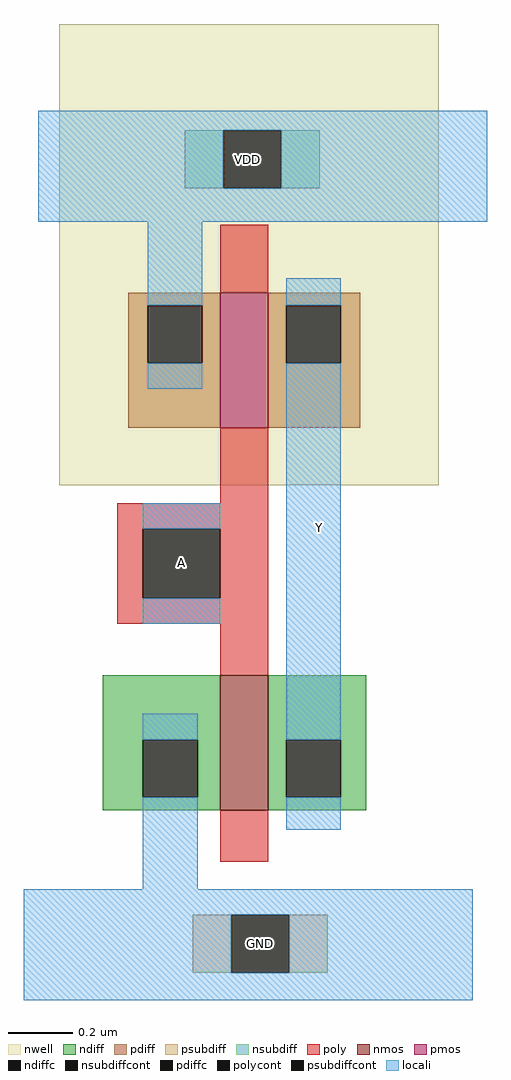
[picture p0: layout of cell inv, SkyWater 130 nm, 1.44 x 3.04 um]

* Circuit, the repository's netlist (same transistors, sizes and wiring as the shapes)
* NGSPICE file created from inv.ext - technology: sky130A

.subckt inv Y A GND VDD
X0 Y A a_n73_n41# a_n73_n41# sky130_fd_pr__nfet_01v8 ad=0.128 pd=1.45 as=0.153 ps=1.57 w=0.42 l=0.15
X1 Y A w_n100_161# w_n100_161# sky130_fd_pr__pfet_01v8 ad=0.12 pd=1.41 as=0.12 ps=1.41 w=0.42 l=0.15
.ends

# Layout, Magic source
magic
tech sky130A
magscale 1 2
<< nwell >>
rect -100 161 136 448
<< nmos >>
rect 0 -41 30 43
<< pmos >>
rect 0 197 30 281
<< ndiff >>
rect -73 3 0 43
rect -73 -33 -48 3
rect -14 -33 0 3
rect -73 -41 0 -33
rect 30 3 91 43
rect 30 -33 41 3
rect 75 -33 91 3
rect 30 -41 91 -33
<< pdiff >>
rect -57 273 0 281
rect -57 237 -45 273
rect -11 237 0 273
rect -57 197 0 237
rect 30 273 87 281
rect 30 237 41 273
rect 75 237 87 273
rect 30 197 87 237
<< ndiffc >>
rect -48 -33 -14 3
rect 41 -33 75 3
<< pdiffc >>
rect -45 237 -11 273
rect 41 237 75 273
<< psubdiff >>
rect -17 -142 7 -106
rect 43 -142 67 -106
<< nsubdiff >>
rect -22 346 2 382
rect 38 346 62 382
<< psubdiffcont >>
rect 7 -142 43 -106
<< nsubdiffcont >>
rect 2 346 38 382
<< poly >>
rect 0 281 30 323
rect 0 150 30 197
rect -64 134 30 150
rect -64 91 -48 134
rect 0 91 30 134
rect -64 75 30 91
rect 0 43 30 75
rect 0 -73 30 -41
<< polycont >>
rect -48 91 0 134
<< locali >>
rect -113 382 166 394
rect -113 346 2 382
rect 38 346 166 382
rect -113 325 166 346
rect -45 273 -11 325
rect -45 221 -11 237
rect 41 273 75 290
rect -48 134 0 150
rect -48 75 0 91
rect -48 3 -14 19
rect -48 -90 -14 -33
rect 41 3 75 237
rect 41 -53 75 -33
rect -122 -106 157 -90
rect -122 -142 7 -106
rect 43 -142 157 -106
rect -122 -159 157 -142
<< labels >>
rlabel locali 62 135 62 135 1 Y
port 1 n
rlabel locali -24 113 -24 113 1 A
port 2 n
rlabel metal1 25 -124 25 -124 1 GND
port 3 n
rlabel metal1 17 364 17 364 1 VDD
port 4 n
<< end >>
